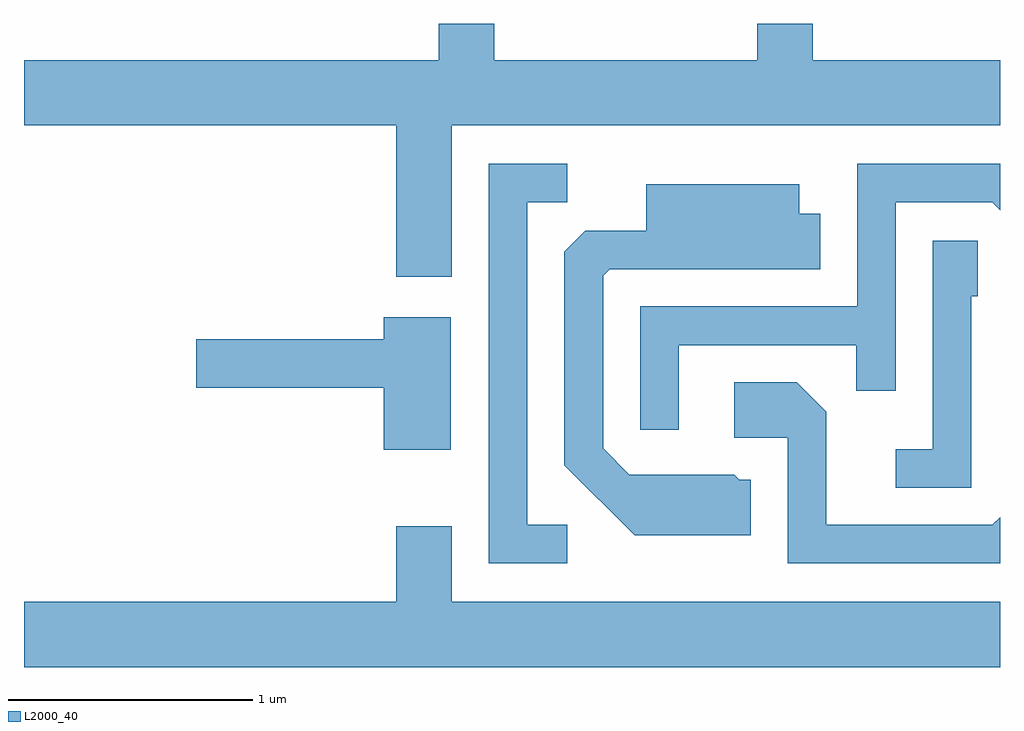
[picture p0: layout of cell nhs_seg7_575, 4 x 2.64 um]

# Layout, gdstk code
import gdstk
lib = gdstk.Library(unit=1e-6, precision=1e-09)
def P(c, l, *ps):  # polygons
    for p in ps: c.add(gdstk.Polygon(p, *l))
L2000_40 = (2000, 40)

nhs_seg7_575 = lib.new_cell('nhs_seg7_575')
P(nhs_seg7_575, L2000_40, [(203.364,1749.836),(205.611,1749.836),(205.611,1750.104),(204.844,1750.104),(204.844,1750.252),(204.616,1750.252),(204.616,1750.104),(203.539,1750.104),(203.539,1750.252),(203.311,1750.252),(203.311,1750.104),(201.611,1750.104),(201.611,1749.836),(203.136,1749.836),(203.136,1749.216),(203.364,1749.216)],
  [(204.294,1748.936),(205.021,1748.936),(205.021,1748.748),(205.184,1748.748),(205.184,1749.521),(205.579,1749.521),(205.611,1749.489),(205.611,1749.679),(205.026,1749.679),(205.026,1749.094),(204.136,1749.094),(204.136,1748.588),(204.294,1748.588)],
  [(203.838,1748.199),(203.674,1748.199),(203.674,1749.521),(203.838,1749.521),(203.838,1749.679),(203.516,1749.679),(203.516,1748.041),(203.838,1748.041)],
  [(204.589,1748.384),(204.542,1748.384),(204.522,1748.404),(204.092,1748.404),(203.984,1748.512),(203.984,1749.219),(204.012,1749.246),(204.874,1749.246),(204.874,1749.474),(204.789,1749.474),(204.789,1749.594),(204.161,1749.594),(204.161,1749.404),(203.912,1749.404),(203.826,1749.319),(203.826,1748.444),(204.114,1748.156),(204.589,1748.156)],
  [(205.494,1749.136),(205.519,1749.136),(205.519,1749.364),(205.336,1749.364),(205.336,1748.509),(205.183,1748.509),(205.183,1748.351),(205.494,1748.351)],
  [(203.359,1749.049),(203.086,1749.049),(203.086,1748.959),(202.316,1748.959),(202.316,1748.761),(203.086,1748.761),(203.086,1748.506),(203.359,1748.506)],
  [(205.611,1748.231),(205.579,1748.199),(204.899,1748.199),(204.899,1748.662),(204.777,1748.784),(204.521,1748.784),(204.521,1748.556),(204.741,1748.556),(204.741,1748.041),(205.611,1748.041)],
  [(205.611,1747.884),(203.364,1747.884),(203.364,1748.194),(203.136,1748.194),(203.136,1747.884),(201.611,1747.884),(201.611,1747.616),(205.611,1747.616)])

lib.write_gds('nhs_seg7_575.gds')
